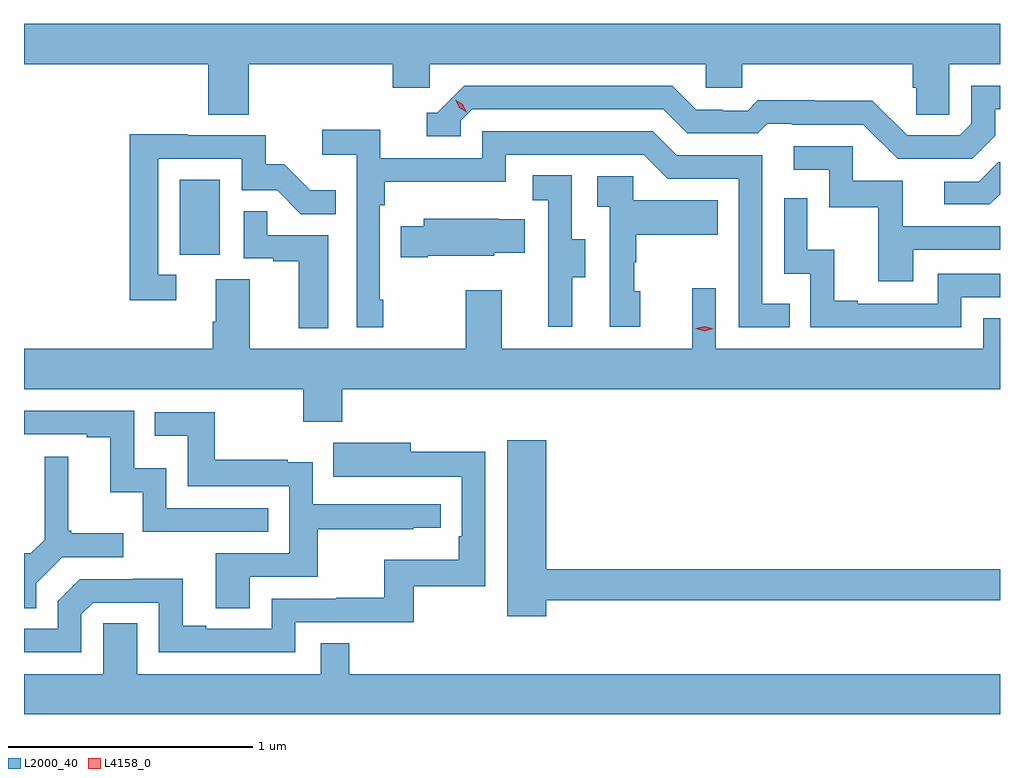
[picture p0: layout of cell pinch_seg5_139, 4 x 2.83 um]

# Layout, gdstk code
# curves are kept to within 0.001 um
import gdstk
lib = gdstk.Library(unit=1e-6, precision=1e-09)
def R(c, l, rs):  # rectangles x0, y0, x1, y1
    for r in rs: c.add(gdstk.rectangle(r[:2], r[2:], *l))
def P(c, l, *ps):  # polygons
    for p in ps: c.add(gdstk.Polygon(p, *l))
L2000_40 = (2000, 40)
L4158_0 = (4158, 0)

pinch_seg5_139 = lib.new_cell('pinch_seg5_139')
R(pinch_seg5_139, L2000_40, [(1045.994,894.606,1046.158,894.913)])
P(pinch_seg5_139, L2000_40, [(1046.276,895.388),(1046.867,895.388),(1046.867,895.29),(1047.018,895.29),(1047.018,895.388),(1048.149,895.388),(1048.149,895.29),(1048.299,895.29),(1048.299,895.388),(1048.997,895.388),(1048.997,895.29),(1049.011,895.29),(1049.011,895.18),(1049.148,895.18),(1049.148,895.388),(1049.355,895.388),(1049.355,895.552),(1045.355,895.552),(1045.355,895.388),(1046.111,895.388),(1046.111,895.18),(1046.276,895.18)],
  [(1049.335,895.093),(1049.335,895.203),(1049.355,895.203),(1049.355,895.299),(1049.238,895.299),(1049.238,895.143),(1049.19,895.095),(1048.974,895.095),(1048.832,895.237),(1048.596,895.237),(1048.596,895.24),(1048.363,895.24),(1048.321,895.197),(1048.218,895.197),(1048.218,895.2),(1048.111,895.2),(1048.012,895.299),(1047.159,895.299),(1047.048,895.188),(1047.005,895.188),(1047.005,895.092),(1047.144,895.092),(1047.144,895.155),(1047.192,895.203),(1047.975,895.203),(1048.074,895.104),(1048.363,895.104),(1048.402,895.143),(1048.501,895.143),(1048.501,895.14),(1048.794,895.14),(1048.935,894.999),(1049.241,894.999)],
  [(1046.827,894.421),(1046.814,894.421),(1046.814,894.809),(1046.834,894.809),(1046.834,894.905),(1047.33,894.905),(1047.33,895.017),(1047.894,895.017),(1047.993,894.918),(1048.284,894.918),(1048.284,894.309),(1048.493,894.309),(1048.493,894.405),(1048.38,894.405),(1048.38,895.014),(1048.03,895.014),(1047.931,895.113),(1047.234,895.113),(1047.234,895.002),(1046.816,895.002),(1046.816,895.118),(1046.577,895.118),(1046.577,895.016),(1046.718,895.016),(1046.718,894.309),(1046.827,894.309)],
  [(1045.978,894.525),(1045.905,894.525),(1045.905,894.999),(1046.247,894.999),(1046.247,894.87),(1046.392,894.87),(1046.49,894.772),(1046.633,894.772),(1046.633,894.871),(1046.529,894.871),(1046.422,894.978),(1046.346,894.978),(1046.346,895.095),(1046.027,895.095),(1046.027,895.1),(1045.789,895.1),(1045.789,894.42),(1045.978,894.42)],
  [(1048.999,894.627),(1049.355,894.627),(1049.355,894.723),(1048.957,894.723),(1048.957,894.909),(1048.752,894.909),(1048.752,895.05),(1048.509,895.05),(1048.509,894.954),(1048.656,894.954),(1048.656,894.801),(1048.855,894.801),(1048.855,894.498),(1048.999,894.498)],
  [(1049.355,894.854),(1049.355,894.986),(1049.348,894.986),(1049.268,894.906),(1049.127,894.906),(1049.127,894.813),(1049.314,894.813)],
  [(1047.601,894.514),(1047.655,894.514),(1047.655,894.669),(1047.6,894.669),(1047.6,894.932),(1047.441,894.932),(1047.441,894.829),(1047.504,894.829),(1047.504,894.525),(1047.503,894.525),(1047.503,894.312),(1047.601,894.312)],
  [(1047.88,894.456),(1047.855,894.456),(1047.855,894.575),(1047.865,894.575),(1047.865,894.689),(1048.199,894.689),(1048.199,894.829),(1047.852,894.829),(1047.852,894.927),(1047.705,894.927),(1047.705,894.803),(1047.756,894.803),(1047.756,894.312),(1047.88,894.312)],
  [(1049.196,894.432),(1049.355,894.432),(1049.355,894.528),(1049.1,894.528),(1049.1,894.405),(1048.771,894.405),(1048.771,894.418),(1048.676,894.418),(1048.676,894.626),(1048.566,894.626),(1048.566,894.838),(1048.47,894.838),(1048.47,894.528),(1048.578,894.528),(1048.578,894.309),(1049.196,894.309)],
  [(1046.602,894.687),(1046.351,894.687),(1046.351,894.785),(1046.256,894.785),(1046.256,894.591),(1046.377,894.591),(1046.377,894.579),(1046.48,894.579),(1046.48,894.305),(1046.602,894.305)],
  [(1047.01,894.602),(1047.282,894.602),(1047.282,894.614),(1047.407,894.614),(1047.407,894.751),(1047.299,894.751),(1047.299,894.754),(1046.993,894.754),(1046.993,894.724),(1046.899,894.724),(1046.899,894.595),(1047.01,894.595)],
  [(1046.66,894.056),(1049.355,894.056),(1049.355,894.347),(1049.286,894.347),(1049.286,894.22),(1048.191,894.22),(1048.191,894.469),(1048.094,894.469),(1048.094,894.22),(1047.313,894.22),(1047.313,894.46),(1047.166,894.46),(1047.166,894.22),(1046.281,894.22),(1046.281,894.506),(1046.141,894.506),(1046.141,894.332),(1046.129,894.332),(1046.129,894.22),(1045.355,894.22),(1045.355,894.056),(1046.5,894.056),(1046.5,893.921),(1046.66,893.921)],
  [(1046.357,893.568),(1045.938,893.568),(1045.938,893.731),(1045.806,893.731),(1045.806,893.967),(1045.355,893.967),(1045.355,893.871),(1045.613,893.871),(1045.613,893.859),(1045.709,893.859),(1045.709,893.633),(1045.842,893.633),(1045.842,893.472),(1046.357,893.472)],
  [(1046.281,893.286),(1046.558,893.286),(1046.558,893.482),(1046.951,893.482),(1046.951,893.487),(1047.064,893.487),(1047.064,893.583),(1046.538,893.583),(1046.538,893.755),(1046.435,893.755),(1046.435,893.767),(1046.137,893.767),(1046.137,893.961),(1045.891,893.961),(1045.891,893.864),(1046.026,893.864),(1046.026,893.658),(1046.442,893.658),(1046.442,893.382),(1046.141,893.382),(1046.141,893.158),(1046.281,893.158)],
  [(1047.496,893.19),(1049.355,893.19),(1049.355,893.318),(1047.496,893.318),(1047.496,893.845),(1047.335,893.845),(1047.335,893.124),(1047.496,893.124)],
  [(1045.59,893.133),(1045.638,893.181),(1045.908,893.181),(1045.908,892.977),(1046.466,892.977),(1046.466,893.1),(1046.953,893.1),(1046.953,893.247),(1047.246,893.247),(1047.246,893.798),(1046.941,893.798),(1046.941,893.836),(1046.623,893.836),(1046.623,893.696),(1047.15,893.697),(1047.15,893.452),(1047.137,893.452),(1047.137,893.356),(1046.832,893.356),(1046.832,893.201),(1046.635,893.201),(1046.635,893.196),(1046.37,893.196),(1046.37,893.073),(1046.101,893.073),(1046.101,893.086),(1046.005,893.086),(1046.005,893.279),(1045.8,893.279),(1045.8,893.277),(1045.584,893.277),(1045.494,893.187),(1045.494,893.073),(1045.355,893.073),(1045.355,892.977),(1045.59,892.977)],
  [(1045.405,893.26),(1045.512,893.367),(1045.762,893.367),(1045.762,893.464),(1045.549,893.464),(1045.549,893.476),(1045.537,893.476),(1045.537,893.779),(1045.44,893.779),(1045.44,893.439),(1045.383,893.382),(1045.355,893.382),(1045.355,893.158),(1045.405,893.158)],
  [(1049.355,892.888),(1046.687,892.888),(1046.687,893.015),(1046.571,893.015),(1046.571,892.888),(1045.819,892.888),(1045.819,893.096),(1045.68,893.096),(1045.68,892.888),(1045.355,892.888),(1045.355,892.724),(1049.355,892.724)])
P(pinch_seg5_139, L4158_0, [(1047.169,895.19),(1047.138,895.209),(1047.122,895.242),(1047.122,895.242),(1047.122,895.242),(1047.153,895.223),(1047.169,895.19),(1047.169,895.19)],
  [(1048.144,894.293),(1048.109,894.303),(1048.108,894.304),(1048.109,894.304),(1048.144,894.313),(1048.179,894.303),(1048.179,894.303),(1048.179,894.302)])

lib.write_gds('pinch_seg5_139.gds')
